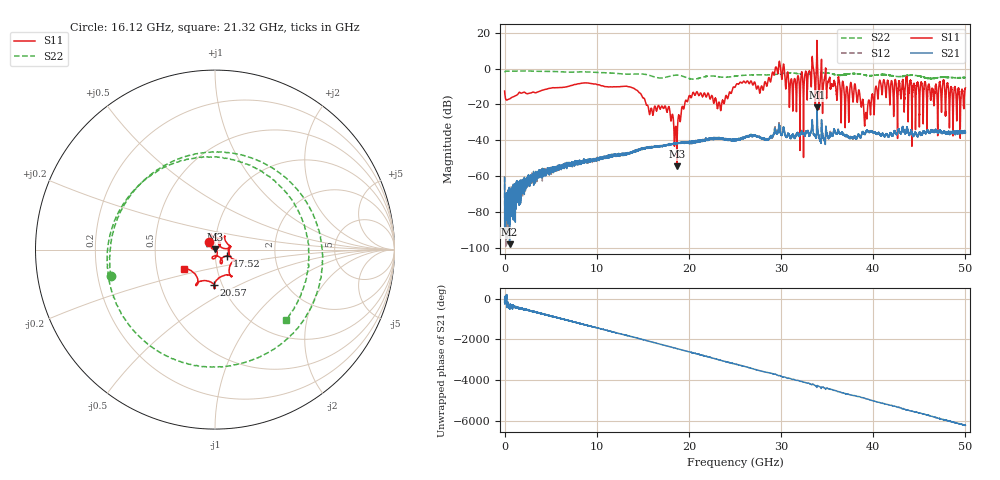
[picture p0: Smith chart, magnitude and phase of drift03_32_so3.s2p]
!Created with skrf (http://scikit-rf.org).
# Hz S RI R 50.0
!freq ReS11 ImS11 ReS21 ImS21 ReS12 ImS12 ReS22 ImS22
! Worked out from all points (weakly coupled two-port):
!   10001 points, 300 kHz to 50 GHz, reference 50 ohm
!   highest |S21| = -21.59 dB at 33.9 GHz (marker M1); lowest = -98.0 dB at 540.3 MHz (marker M2)
!   lowest |S11| = -54.6 dB at 18.7 GHz (marker M3), VSWR 1.00, Z = 50 + j0.185 ohm
!   |S11| at or under -10 dB: start of sweep to 6.945 GHz; 13.31 GHz to 25.04 GHz (11.74 GHz wide, 61.2 % of centre); 38.07 GHz to 40.27 GHz (2.194 GHz wide, 5.6 % of centre) (the widest 3 of 56)
!   |S22| runs from -5.9 to -1.3 dB; largest |S21 - S12| = 0.0076
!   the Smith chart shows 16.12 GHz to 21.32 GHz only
!   S11 on the Smith chart (normalised r, x): 16.12 GHz: 0.94, +0.08; 17.52 GHz: 1.14, -0.08; 20.57 GHz: 0.92, -0.37; 21.32 GHz: 0.69, -0.16
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300000  -0.2116 -0.1017  -0.000916 -0.000101  0.000935 0.00032  -0.7587 -0.1917
5.402968e8  -0.0644 0.1265  -1.04e-05 -7.03e-06  0.000258 2.05e-05  -0.3853 0.7516
2.335286e9  0.0223 -0.2012  -0.000514 -3.3e-06  -0.000713 8.44e-05  0.0891 -0.8517
3.935276e9  -0.0197 0.2406  0.00132 -0.000355  0.00109 -0.000337  -0.0296 0.8313
5.470267e9  0.0674 -0.2819  -0.00162 3.63e-05  -0.0015 0.000261  0.1681 -0.8093
8.33525e9  0.2836 -0.2676  -0.00223 -0.00122  -0.00207 -0.000943  0.6007 -0.536
1.043024e10  -0.0429 0.332  0.00269 -0.00186  0.00237 -0.00185  -0.0361 0.7698
1.201523e10  0.00676 -0.3085  -0.00274 0.00263  -0.00278 0.00262  0.1033 -0.729
1.372022e10  -0.0276 0.2985  0.00281 -0.00367  0.00263 -0.0037  -0.0747 0.6924
1.61152e10  -0.0314 0.041  0.00601 0.00192  0.00603 0.0021  -0.5781 -0.1472
1.66702e10  0.054 0.0757  0.00455 -0.0049  0.00444 -0.00495  -0.3568 0.4189
1.752019e10  0.0688 -0.0356  -0.0062 -0.00389  -0.00585 -0.00385  0.4909 0.2931
1.869519e10  9.67e-05 0.00185  0.00245 0.00783  0.00249 0.008  -0.0892 -0.6488
2.057018e10  -0.00541 -0.1957  -0.00775 -0.00444  -0.00781 -0.00471  0.3721 0.344
2.132017e10  -0.1707 -0.1082  -0.00516 0.00869  -0.00516 0.00805  0.3957 -0.3922
2.500015e10  -0.2965 -0.0471  0.00745 0.00606  0.00789 0.00676  -0.1894 -0.5819
3.051012e10  0.2449 -0.1069  -0.00239 0.0126  -0.00236 0.0125  0.7408 -0.0633
3.213011e10  0.205 0.3712  -0.000579 -0.0151  -0.000717 -0.0147  -0.6919 0.0174
3.33351e10  0.4707 -1.006  -0.00549 0.0257  -0.00619 0.0248  0.6151 0.3642
3.38951e10  -0.7606 -6.029  0.0824 0.012  0.079 0.00638  0.6806 -0.3203
4.167005e10  -0.2182 0.2854  -0.0118 -0.00463  -0.0113 -0.00526  -0.6495 -0.0566
5e10  -0.1495 -0.2457  0.00138 -0.0163  5.05e-05 -0.0168  0.4647 -0.317
